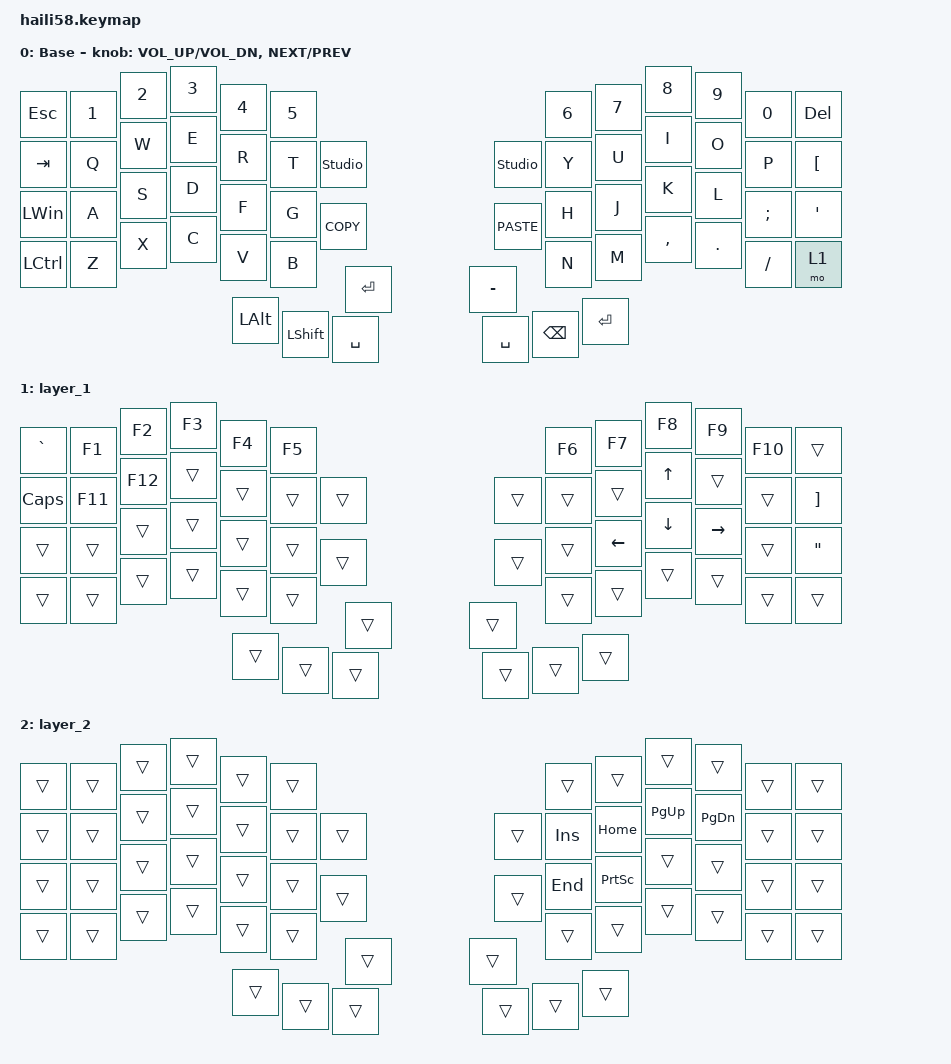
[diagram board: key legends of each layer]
#include <behaviors.dtsi>
#include <dt-bindings/zmk/keys.h>

/ {
    keymap {
        compatible = "zmk,keymap";

        default_layer {
            display-name = "Base";
            bindings = <
&kp ESC           &kp NUMBER_1    &kp NUMBER_2  &kp NUMBER_3  &kp NUMBER_4  &kp NUMBER_5        &kp NUMBER_6    &kp N7       &kp N8     &kp N9     &kp N0         &kp DELETE
&kp TAB           &kp Q           &kp W         &kp E         &kp R         &kp T               &kp Y           &kp U        &kp I      &kp O      &kp P          &kp LBKT
&kp LEFT_WIN      &kp A           &kp S         &kp D         &kp F         &kp G               &kp H           &kp J        &kp K      &kp L      &kp SEMI       &kp APOS
&kp LEFT_CONTROL  &kp Z           &kp X         &kp C         &kp V         &kp B               &kp N           &kp M        &kp COMMA  &kp DOT    &kp FSLH       &mo 1
&kp LEFT_ALT      &kp LEFT_SHIFT  &kp SPACE     &kp RET       &kp K_COPY    &studio_unlock      &studio_unlock  &kp K_PASTE  &kp MINUS  &kp SPACE  &kp BACKSPACE  &kp RETURN
            >;

            sensor-bindings = <&inc_dec_kp C_VOL_UP C_VOL_DN &inc_dec_kp C_NEXT C_PREV>;
        };

        layer_1 {
            bindings = <
&kp GRAVE  &kp F1   &kp F2   &kp F3  &kp F4  &kp F5      &kp F6  &kp F7    &kp F8    &kp F9     &kp F10  &trans
&kp CLCK   &kp F11  &kp F12  &trans  &trans  &trans      &trans  &trans    &kp UP    &trans     &trans   &kp RBKT
&trans     &trans   &trans   &trans  &trans  &trans      &trans  &kp LEFT  &kp DOWN  &kp RIGHT  &trans   &kp DOUBLE_QUOTES
&trans     &trans   &trans   &trans  &trans  &trans      &trans  &trans    &trans    &trans     &trans   &trans
&trans     &trans   &trans   &trans  &trans  &trans      &trans  &trans    &trans    &trans     &trans   &trans
            >;
        };

        layer_2 {
            bindings = <
&trans  &trans  &trans  &trans  &trans  &trans      &trans   &trans           &trans       &trans         &trans  &trans
&trans  &trans  &trans  &trans  &trans  &trans      &kp INS  &kp HOME         &kp PAGE_UP  &kp PAGE_DOWN  &trans  &trans
&trans  &trans  &trans  &trans  &trans  &trans      &kp END  &kp PRINTSCREEN  &trans       &trans         &trans  &trans
&trans  &trans  &trans  &trans  &trans  &trans      &trans   &trans           &trans       &trans         &trans  &trans
&trans  &trans  &trans  &trans  &trans  &trans      &trans   &trans           &trans       &trans         &trans  &trans
            >;
        };
    };
};
